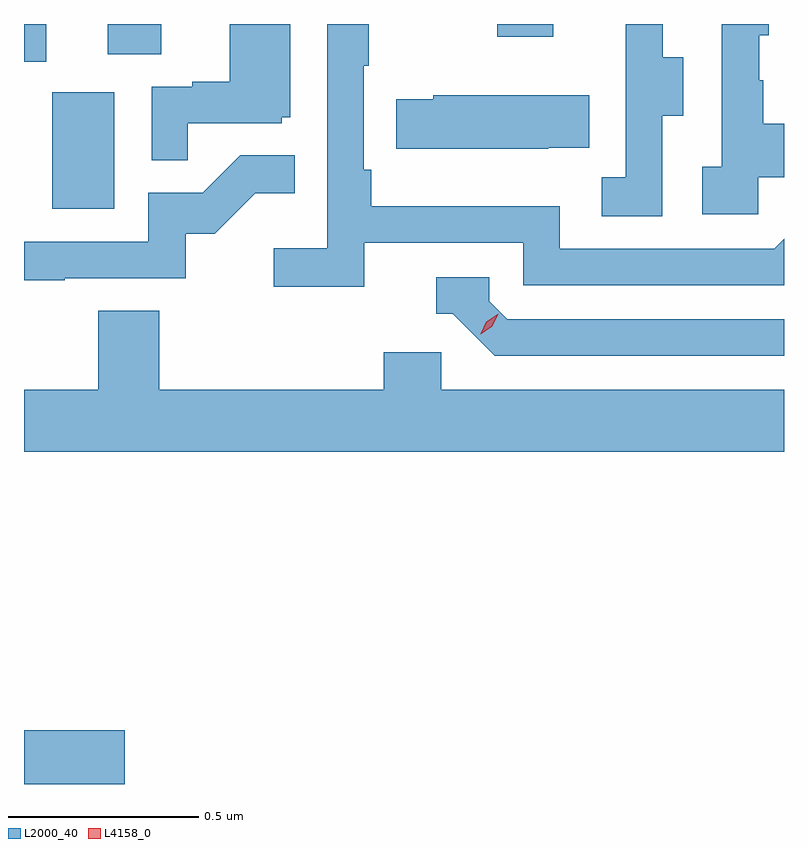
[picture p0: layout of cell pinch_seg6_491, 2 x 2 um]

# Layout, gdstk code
import gdstk
lib = gdstk.Library(unit=1e-6, precision=1e-09)
def R(c, l, rs):  # rectangles x0, y0, x1, y1
    for r in rs: c.add(gdstk.rectangle(r[:2], r[2:], *l))
def P(c, l, *ps):  # polygons
    for p in ps: c.add(gdstk.Polygon(p, *l))
L2000_40 = (2000, 40)
L4158_0 = (4158, 0)

pinch_seg6_491 = lib.new_cell('pinch_seg6_491')
R(pinch_seg6_491, L2000_40, [(860.772,931.81,861.037,931.952), (860.846,933.324,861.01,933.631), (860.772,933.711,860.83,933.81), (860.993,933.73,861.133,933.81), (862.018,933.777,862.165,933.81)])
P(pinch_seg6_491, L2000_40, [(862.452,933.568),(862.507,933.568),(862.507,933.723),(862.453,933.723),(862.453,933.81),(862.355,933.81),(862.355,933.711),(862.356,933.711),(862.356,933.407),(862.293,933.407),(862.293,933.304),(862.452,933.304)],
  [(862.704,933.407),(862.772,933.407),(862.772,933.547),(862.717,933.547),(862.717,933.662),(862.707,933.662),(862.707,933.78),(862.732,933.78),(862.732,933.81),(862.608,933.81),(862.608,933.434),(862.557,933.434),(862.557,933.309),(862.704,933.309)],
  [(861.203,933.549),(861.45,933.549),(861.45,933.564),(861.472,933.564),(861.472,933.81),(861.314,933.81),(861.314,933.658),(861.215,933.658),(861.215,933.645),(861.108,933.645),(861.108,933.451),(861.203,933.451)],
  [(861.668,933.234),(862.086,933.234),(862.086,933.123),(862.772,933.123),(862.772,933.245),(862.746,933.219),(862.182,933.219),(862.182,933.331),(861.686,933.331),(861.686,933.427),(861.666,933.427),(861.666,933.7),(861.679,933.7),(861.679,933.81),(861.57,933.81),(861.57,933.22),(861.429,933.22),(861.429,933.118),(861.668,933.118)],
  [(862.151,933.485),(862.259,933.485),(862.259,933.622),(861.849,933.622),(861.849,933.612),(861.751,933.612),(861.751,933.482),(862.151,933.482)],
  [(860.879,933.141),(861.198,933.141),(861.198,933.258),(861.274,933.258),(861.381,933.365),(861.485,933.365),(861.485,933.464),(861.341,933.464),(861.243,933.366),(861.099,933.366),(861.099,933.237),(860.772,933.237),(860.772,933.136),(860.879,933.136)],
  [(862.772,933.033),(862.044,933.033),(861.996,933.081),(861.996,933.144),(861.857,933.144),(861.857,933.048),(861.9,933.048),(862.011,932.937),(862.772,932.937)],
  [(862.772,932.848),(861.87,932.848),(861.87,932.946),(861.719,932.946),(861.719,932.848),(861.128,932.848),(861.128,933.056),(860.968,933.056),(860.968,932.848),(860.772,932.848),(860.772,932.684),(862.772,932.684)])
P(pinch_seg6_491, L4158_0, [(861.974,932.994),(861.974,932.995),(861.989,933.027),(862.02,933.047),(862.02,933.047),(862.02,933.046),(862.004,933.014),(861.974,932.994)])

lib.write_gds('pinch_seg6_491.gds')
